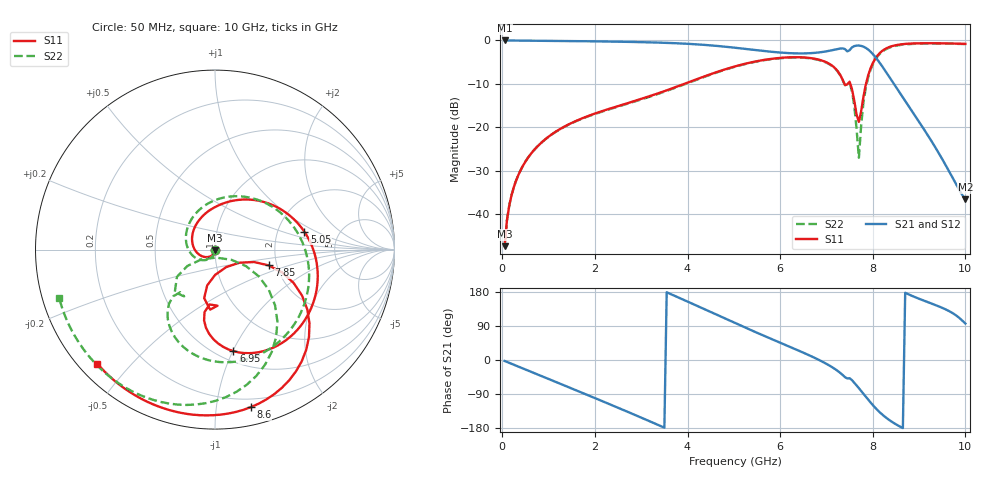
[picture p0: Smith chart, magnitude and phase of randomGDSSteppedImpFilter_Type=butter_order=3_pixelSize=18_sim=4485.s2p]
! freq	dB(S11)	phase(S11)	dB(S12)	phase(S12)
!  dB(S21)	phase(S21)	dB(S22)	phase(S22)
!S-par simulation data
#  GHz  S  DB  R 50
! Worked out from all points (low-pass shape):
!   200 points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, 50 MHz to 10 GHz, reference 50 ohm
!   highest |S21| = 0.00 dB at 50 MHz (marker M1); lowest = -36.5 dB at 10 GHz (marker M2)
!   |S21| within 3 dB of the highest: start of sweep to 7.99 GHz
!   lowest |S11| = -47.3 dB at 50 MHz (marker M3), VSWR 1.01, Z = 50 - j0.431 ohm
!   |S11| at or under -10 dB: start of sweep to 3.926 GHz; 7.389 GHz to 7.458 GHz (68.12 MHz wide, 0.918 % of centre); 7.516 GHz to 7.853 GHz (337.5 MHz wide, 4.39 % of centre)
!   |S22| runs from -47.3 to -0.7 dB; largest |S21 - S12| = 0
!   S11 on the Smith chart (normalised r, x): 50 MHz: 1.00, -0.01; 5.05 GHz: 2.83, +0.76; 6.95 GHz: 0.59, -1.01; 7.85 GHz: 1.81, -0.35; 8.6 GHz: 0.13, -1.24; 10 GHz: 0.05, -0.40
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0.05  -47.29 -92.8  -0.00 -2.5  -0.00 -2.5  -47.28 -91.8
0.2  -35.57 -102.1  -0.02 -10.1  -0.02 -10.1  -35.56 -98.3
0.5  -27.84 -120.6  -0.04 -25.1  -0.04 -25.1  -27.84 -111.0
1.15  -21.00 -159.5  -0.10 -57.6  -0.10 -57.6  -21.03 -138.2
1.75  -17.79 165.9  -0.17 -87.8  -0.17 -87.8  -17.86 -164.4
2.5  -15.09 125.9  -0.28 -126.0  -0.28 -126.0  -15.20 159.0
3.4  -12.03 84.2  -0.50 -173.2  -0.50 -173.2  -12.16 106.2
4.35  -8.32 43.3  -1.01 134.9  -1.01 134.9  -8.42 44.1
5.05  -5.89 11.4  -1.70 96.2  -1.70 96.2  -5.97 -0.4
5.85  -4.18 -26.0  -2.64 53.5  -2.64 53.5  -4.25 -46.9
6.7  -4.12 -66.6  -2.89 8.3  -2.89 8.3  -4.20 -93.4
6.95  -4.80 -79.7  -2.59 -6.8  -2.59 -6.8  -4.89 -108.1
7.5  -9.49 -94.6  -2.24 -48.1  -2.24 -48.1  -9.73 -133.4
7.6  -13.79 -102.3  -1.31 -59.9  -1.31 -59.9  -14.98 -149.4
7.7  -18.73 -57.6  -1.17 -74.3  -1.17 -74.3  -26.98 -83.8
7.75  -16.22 -28.2  -1.26 -81.8  -1.26 -81.8  -19.42 -31.9
7.85  -10.13 -16.4  -1.71 -96.9  -1.71 -96.9  -10.86 -31.4
8.05  -4.26 -32.9  -3.73 -125.6  -3.73 -125.6  -4.50 -55.1
8.35  -1.54 -60.4  -8.27 -157.9  -8.27 -157.9  -1.68 -85.7
8.6  -0.91 -77.2  -12.31 -176.5  -12.31 -176.5  -1.03 -103.6
9.2  -0.64 -105.7  -21.99 152.2  -21.99 152.2  -0.72 -133.2
10  -0.79 -135.8  -36.48 96.2  -36.48 96.2  -0.83 -162.9
